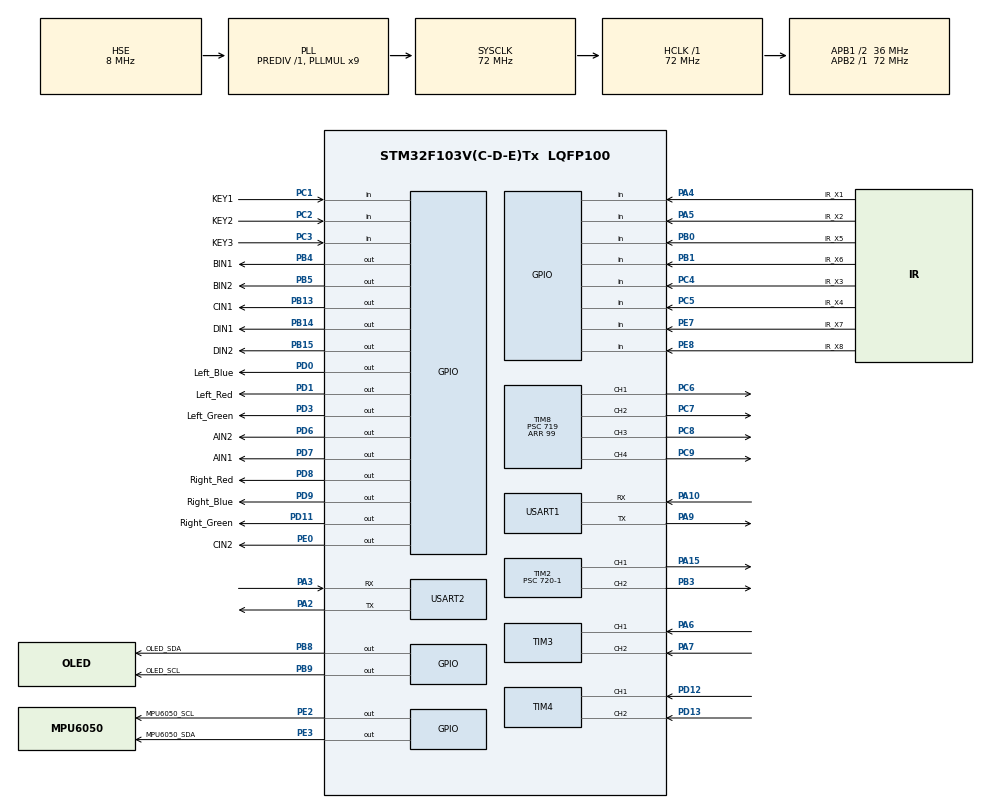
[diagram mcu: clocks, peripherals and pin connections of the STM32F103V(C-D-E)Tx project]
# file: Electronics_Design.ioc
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Mcu.Family=STM32F1
Mcu.Name=STM32F103V(C-D-E)Tx
Mcu.Package=LQFP100
NVIC.PriorityGroup=NVIC_PRIORITYGROUP_4
NVIC.TIM1_UP_IRQn=true\:0\:0\:false\:false\:true\:true\:true\:true
NVIC.TIM2_IRQn=true\:0\:0\:false\:false\:true\:true\:true\:true
NVIC.USART1_IRQn=true\:0\:0\:false\:false\:true\:true\:true\:true
NVIC.USART2_IRQn=true\:0\:0\:false\:false\:true\:true\:true\:true
OSC_IN.Mode=HSE-External-Oscillator
OSC_IN.Signal=RCC_OSC_IN
OSC_OUT.Mode=HSE-External-Oscillator
OSC_OUT.Signal=RCC_OSC_OUT
PA10.Mode=Asynchronous
PA10.Signal=USART1_RX
PA13.Mode=Serial_Wire
PA13.Signal=SYS_JTMS-SWDIO
PA14.Mode=Serial_Wire
PA14.Signal=SYS_JTCK-SWCLK
PA15.Signal=S_TIM2_CH1_ETR
PA2.Mode=Asynchronous
PA2.Signal=USART2_TX
PA3.Mode=Asynchronous
PA3.Signal=USART2_RX
PA4.GPIO_Label=IR_X1
PA4.Signal=GPIO_Input
PA5.GPIO_Label=IR_X2
PA5.Signal=GPIO_Input
PA6.Signal=S_TIM3_CH1
PA7.Signal=S_TIM3_CH2
PA9.Mode=Asynchronous
PA9.Signal=USART1_TX
PB0.GPIO_Label=IR_X5
PB0.Signal=GPIO_Input
PB1.GPIO_Label=IR_X6
PB1.Signal=GPIO_Input
PB13.GPIO_Label=CIN1
PB13.Signal=GPIO_Output
PB14.GPIO_Label=DIN1
PB14.Signal=GPIO_Output
PB15.GPIO_Label=DIN2
PB15.Signal=GPIO_Output
PB3.Signal=S_TIM2_CH2
PB4.GPIO_Label=BIN1
PB4.Signal=GPIO_Output
PB5.GPIO_Label=BIN2
PB5.Signal=GPIO_Output
PB8.GPIO_Label=OLED_SDA
PB8.GPIO_ModeDefaultOutputPP=GPIO_MODE_OUTPUT_OD
PB8.GPIO_PuPd=GPIO_NOPULL
PB8.GPIO_Speed=GPIO_SPEED_FREQ_HIGH
PB8.Signal=GPIO_Output
PB9.GPIO_Label=OLED_SCL
PB9.GPIO_ModeDefaultOutputPP=GPIO_MODE_OUTPUT_OD
PB9.GPIO_PuPd=GPIO_NOPULL
PB9.GPIO_Speed=GPIO_SPEED_FREQ_HIGH
PB9.Signal=GPIO_Output
PC1.GPIO_Label=KEY1
PC1.GPIO_PuPd=GPIO_PULLUP
PC1.Signal=GPIO_Input
PC14-OSC32_IN.Mode=LSE-External-Oscillator
PC14-OSC32_IN.Signal=RCC_OSC32_IN
PC15-OSC32_OUT.Mode=LSE-External-Oscillator
PC15-OSC32_OUT.Signal=RCC_OSC32_OUT
PC2.GPIO_Label=KEY2
PC2.GPIO_PuPd=GPIO_PULLUP
PC2.Signal=GPIO_Input
PC3.GPIO_Label=KEY3
PC3.GPIO_PuPd=GPIO_PULLUP
PC3.Signal=GPIO_Input
PC4.GPIO_Label=IR_X3
PC4.Signal=GPIO_Input
PC5.GPIO_Label=IR_X4
PC5.Signal=GPIO_Input
PC6.Signal=S_TIM8_CH1
PC7.Signal=S_TIM8_CH2
PC8.Signal=S_TIM8_CH3
PC9.Signal=S_TIM8_CH4
PD0.GPIO_Label=Left_Blue
PD0.GPIO_PuPd=GPIO_PULLUP
PD0.PinState=GPIO_PIN_SET
PD0.Signal=GPIO_Output
PD1.GPIO_Label=Left_Red
PD1.GPIO_PuPd=GPIO_PULLUP
PD1.PinState=GPIO_PIN_SET
PD1.Signal=GPIO_Output
PD11.GPIO_Label=Right_Green
PD11.GPIO_PuPd=GPIO_PULLUP
PD11.PinState=GPIO_PIN_SET
PD11.Signal=GPIO_Output
PD12.Signal=S_TIM4_CH1
PD13.Signal=S_TIM4_CH2
PD3.GPIO_Label=Left_Green
PD3.GPIO_PuPd=GPIO_PULLUP
PD3.PinState=GPIO_PIN_SET
PD3.Signal=GPIO_Output
PD6.GPIO_Label=AIN2
PD6.Signal=GPIO_Output
PD7.GPIO_Label=AIN1
PD7.Signal=GPIO_Output
PD8.GPIO_Label=Right_Red
PD8.GPIO_PuPd=GPIO_PULLUP
PD8.PinState=GPIO_PIN_SET
PD8.Signal=GPIO_Output
PD9.GPIO_Label=Right_Blue
PD9.GPIO_PuPd=GPIO_PULLUP
PD9.PinState=GPIO_PIN_SET
PD9.Signal=GPIO_Output
PE0.GPIO_Label=CIN2
PE0.Signal=GPIO_Output
PE2.GPIO_Label=MPU6050_SCL
PE2.GPIO_ModeDefaultOutputPP=GPIO_MODE_OUTPUT_OD
PE2.GPIO_PuPd=GPIO_PULLUP
PE2.GPIO_Speed=GPIO_SPEED_FREQ_HIGH
PE2.Signal=GPIO_Output
PE3.GPIO_Label=MPU6050_SDA
PE3.GPIO_ModeDefaultOutputPP=GPIO_MODE_OUTPUT_OD
PE3.GPIO_PuPd=GPIO_PULLUP
PE3.GPIO_Speed=GPIO_SPEED_FREQ_HIGH
PE3.Signal=GPIO_Output
PE7.GPIO_Label=IR_X7
PE7.Signal=GPIO_Input
PE8.GPIO_Label=IR_X8
PE8.Signal=GPIO_Input
ProjectManager.HeapSize=0x200
ProjectManager.StackSize=0x400
ProjectManager.TargetToolchain=Makefile
RCC.AHBFreq_Value=72000000
RCC.APB1CLKDivider=RCC_HCLK_DIV2
RCC.APB1Freq_Value=36000000
RCC.APB1TimFreq_Value=72000000
RCC.APB2Freq_Value=72000000
RCC.APB2TimFreq_Value=72000000
RCC.HCLKFreq_Value=72000000
RCC.PLLMUL=RCC_PLL_MUL9
RCC.PLLSourceVirtual=RCC_PLLSOURCE_HSE
RCC.SYSCLKFreq_VALUE=72000000
RCC.SYSCLKSource=RCC_SYSCLKSOURCE_PLLCLK
RCC.USBFreq_Value=72000000
SH.S_TIM2_CH1_ETR.0=TIM2_CH1,PWM Generation1 CH1
SH.S_TIM2_CH2.0=TIM2_CH2,PWM Generation2 CH2
SH.S_TIM3_CH1.0=TIM3_CH1,Encoder_Interface
SH.S_TIM3_CH2.0=TIM3_CH2,Encoder_Interface
SH.S_TIM4_CH1.0=TIM4_CH1,Encoder_Interface
SH.S_TIM4_CH2.0=TIM4_CH2,Encoder_Interface
SH.S_TIM8_CH1.0=TIM8_CH1,PWM Generation1 CH1
SH.S_TIM8_CH2.0=TIM8_CH2,PWM Generation2 CH2
SH.S_TIM8_CH3.0=TIM8_CH3,PWM Generation3 CH3
SH.S_TIM8_CH4.0=TIM8_CH4,PWM Generation4 CH4
TIM1.Period=10000-1
TIM1.Prescaler=72-1
TIM2.Channel-PWM\ Generation1\ CH1=TIM_CHANNEL_1
TIM2.Channel-PWM\ Generation2\ CH2=TIM_CHANNEL_2
TIM2.Period=2000
TIM2.Prescaler=720-1
TIM3.EncoderMode=TIM_ENCODERMODE_TI12
TIM4.EncoderMode=TIM_ENCODERMODE_TI12
TIM8.Channel-PWM\ Generation1\ CH1=TIM_CHANNEL_1
TIM8.Channel-PWM\ Generation2\ CH2=TIM_CHANNEL_2
TIM8.Channel-PWM\ Generation3\ CH3=TIM_CHANNEL_3
TIM8.Channel-PWM\ Generation4\ CH4=TIM_CHANNEL_4
TIM8.Period=99
TIM8.Prescaler=719
USART1.VirtualMode=VM_ASYNC
USART2.VirtualMode=VM_ASYNC
VP_TIM1_VS_ClockSourceINT.Mode=Internal
VP_TIM8_VS_ClockSourceINT.Mode=Internal
board=custom

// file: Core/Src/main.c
/* USER CODE BEGIN Header */
/**
  ******************************************************************************
  * @file           : main.c
  * @brief          : Main program body
  ******************************************************************************
  * @attention
  *
  * Copyright (c) 2024 STMicroelectronics.
  * All rights reserved.
  *
  * This software is licensed under terms that can be found in the LICENSE file
  * in the root directory of this software component.
  * If no LICENSE file comes with this software, it is provided AS-IS.
  *
  ******************************************************************************
  */
/* USER CODE END Header */
#include "main.h"
#include "tim.h"
#include "usart.h"
#include "gpio.h"

/* USER CODE BEGIN Includes */
#include "pid.h"
#include "RGB.h"
#include "KEY.h"
#include "bsp_OLED.h"
#include "Motor.h"
#include "Encoder.h"
#include "servo.h"
#include "MPU_Updata.h"
#include "irtracking.h"

/* USER CODE END Includes */

void SystemClock_Config(void);

/* USER CODE BEGIN 0 */
uint8_t rec_tra_data[1]; // 定义一个数组，用于存放串口接收和发送的数据
uint8_t Bluetooth_rec_tra_data[1]; // 定义一个数组，用于存放蓝牙接收和发送的数据
char Temp_chr[100];
extern struct keys key[3];
pid_t pid_L,pid_R;	//PID左右轮参数
float PWM_Left,PWM_Right;
float Err;			//小车偏离差值
uint8_t Track;

/* USER CODE END 0 */

int main(void)
{

  /* MCU Configuration--------------------------------------------------------*/

  /* Reset of all peripherals, Initializes the Flash interface and the Systick. */
  HAL_Init();

  /* Configure the system clock */
  SystemClock_Config();

  /* Initialize all configured peripherals */
  MX_GPIO_Init();
  MX_TIM1_Init();
  MX_TIM3_Init();
  MX_TIM4_Init();
  MX_TIM8_Init();
  MX_USART1_UART_Init();
  MX_USART2_UART_Init();
  MX_TIM2_Init();
  /* USER CODE BEGIN 2 */
	OLED_Init();
	Motor_Init();
	//mpu6050_Init();
  Encoder_Init();
  HAL_TIM_Base_Start_IT(&htim1 );
  pid_set(&pid_L,0.5,0.1,0,100,50);	//速度PID参数初始化	17.12	11.75	0
	pid_set(&pid_R,0.45,0.1,0,100,50);		//速度PID参数初始化	17.44	11.98	0
  pid_L.set = 20;	//设置速度目标
	pid_R.set = 20;	//设置速度目标
  HAL_Delay (1000);
  /* USER CODE END 2 */

  /* Infinite loop */
  /* USER CODE BEGIN WHILE */
  while (1)
  {
    // OLED_String(1,16,"AUTO     ",16);
     Read_Track_DATA(&Track);
     sprintf(Temp_chr,"s:%.2f %.2f",GetMotorSpeed(0),GetMotorSpeed(1));
     OLED_String(1,16,Temp_chr,16);
     PWM_Left = pid_cal(&pid_L,GetMotorSpeed(0),pid_L.set);
		 PWM_Right = pid_cal(&pid_R,-GetMotorSpeed(1),pid_R.set);
	   Err = Track_Err();
		 pid_L.set = 12-Err;
		 pid_R.set = 12+Err;

     MotorB_Speed(PWM_Left);
     MotorC_Speed(PWM_Right);
     HAL_Delay(20);
    // HAL_Delay (1000);
    // if(key[0].press ==1){
    //    OLED_String(1,16,"AUTO     ",16);
    //    key[0].press =0;
    // }
    // else if (key[1].press ==1){
    //    OLED_String(1,16,"Buletooth",16);
    //    key[1].press =0;
    // }

		//  MotorC_Speed(50);
    //  MotorB_Speed(50);
    // // sprintf(Temp_chr,"B:%f",GetMotorSpeed(1));
		// // OLED_String(1,16,Temp_chr,16);
    // // mpu6050_updata();
	  // HAL_Delay(1000);
    // MotorC_Speed(-50);
    // MotorB_Speed(50);
    /* USER CODE END WHILE */

  }
}
void SystemClock_Config(void)
{
  RCC_OscInitTypeDef RCC_OscInitStruct = {0};
  RCC_ClkInitTypeDef RCC_ClkInitStruct = {0};

  /** Initializes the RCC Oscillators according to the specified parameters
  * in the RCC_OscInitTypeDef structure.
  */
  RCC_OscInitStruct.OscillatorType = RCC_OSCILLATORTYPE_HSE;
  RCC_OscInitStruct.HSEState = RCC_HSE_ON;
  RCC_OscInitStruct.HSEPredivValue = RCC_HSE_PREDIV_DIV1;
  RCC_OscInitStruct.HSIState = RCC_HSI_ON;
  RCC_OscInitStruct.PLL.PLLState = RCC_PLL_ON;
  RCC_OscInitStruct.PLL.PLLSource = RCC_PLLSOURCE_HSE;
  RCC_OscInitStruct.PLL.PLLMUL = RCC_PLL_MUL9;
  if (HAL_RCC_OscConfig(&RCC_OscInitStruct) != HAL_OK)
  {
    Error_Handler();
  }

  /** Initializes the CPU, AHB and APB buses clocks
  */
  RCC_ClkInitStruct.ClockType = RCC_CLOCKTYPE_HCLK|RCC_CLOCKTYPE_SYSCLK
                              |RCC_CLOCKTYPE_PCLK1|RCC_CLOCKTYPE_PCLK2;
  RCC_ClkInitStruct.SYSCLKSource = RCC_SYSCLKSOURCE_PLLCLK;
  RCC_ClkInitStruct.AHBCLKDivider = RCC_SYSCLK_DIV1;
  RCC_ClkInitStruct.APB1CLKDivider = RCC_HCLK_DIV2;
  RCC_ClkInitStruct.APB2CLKDivider = RCC_HCLK_DIV1;

  if (HAL_RCC_ClockConfig(&RCC_ClkInitStruct, FLASH_LATENCY_2) != HAL_OK)
  {
    Error_Handler();
  }
}

void Error_Handler(void)
{
  __disable_irq();
  while (1)
  {
  }
}
